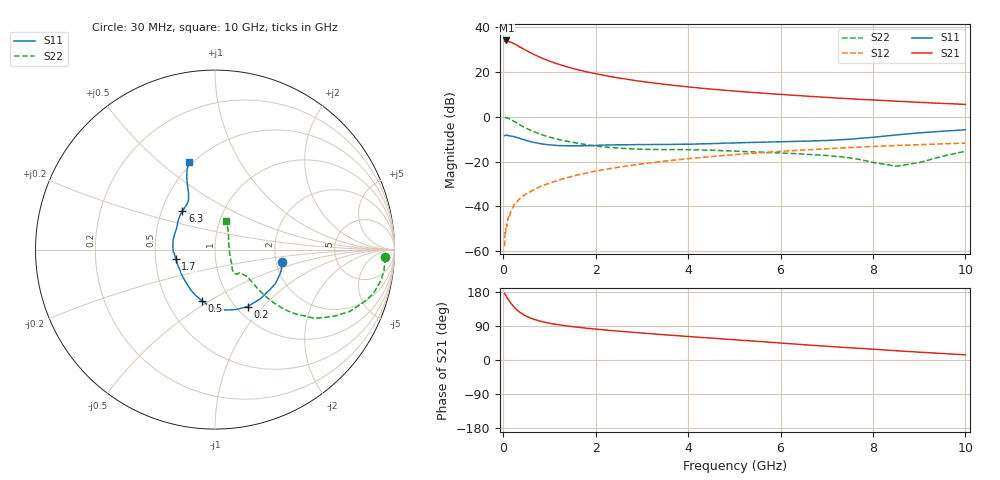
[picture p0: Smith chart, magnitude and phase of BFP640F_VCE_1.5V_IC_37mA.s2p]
! Infineon Technologies  Discrete & RF Semiconductors
! BFP640F
! VCE =  1.5 V,  IC =  37 mA
! Common Emitter S-Parameters:  Apr 2013
# GHz  S  MA  R  50
!  f  S11  S21  S12  S22
! GHz  MAG  ANG  MAG  ANG  MAG  ANG  MAG  ANG
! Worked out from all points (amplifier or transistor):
!   99 points, 30 MHz to 10 GHz, reference 50 ohm
!   highest |S21| = 34.0 dB at 70 MHz (marker M1)
!   |S21| within 3 dB of that: start of sweep to 367.8 MHz
!   unconditionally stable (mu >= 1): 1.447 GHz to end of sweep
!   at 350 MHz: K = 0.55, MSG = 33.9 dB, |S12| = -36.7 dB
!   at 3.5 GHz: K = 1.07, MAG = 15.5 dB, |S12| = -19.8 dB
!   at 10 GHz: K = 1.05, MAG = 7.3 dB, |S12| = -11.8 dB
!   S11 on the Smith chart (normalised r, x): 30 MHz: 2.14, -0.35; 200 MHz: 1.12, -0.82; 500 MHz: 0.74, -0.47; 1.7 GHz: 0.64, -0.07; 6.3 GHz: 0.64, +0.30; 10 GHz: 0.48, +0.63
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0.03  0.3777 -10.7  48.22 175.5  0.0013 101.8  0.9467 -2.6
0.05  0.3861 -16.2  49.88 172.0  0.0024 110.5  0.9481 -5.6
0.07  0.3861 -23.5  50.06 167.4  0.004 81.9  0.9447 -8.7
0.12  0.3743 -39.6  47.42 157.7  0.0061 79.4  0.9124 -15.8
0.15  0.3723 -47.5  46.58 152.7  0.0072 75.2  0.8781 -19.5
0.2  0.3657 -60.2  44.05 144.5  0.0092 76.3  0.827 -24.6
0.25  0.3544 -70.3  41.68 137.8  0.0117 73.9  0.7691 -28.6
0.3  0.3427 -79.4  39.03 131.8  0.0127 73.5  0.7183 -31.8
0.35  0.3315 -87.4  36.19 126.7  0.0147 73.3  0.6707 -34.7
0.5  0.2955 -103.9  29.89 115.6  0.0189 70.4  0.5507 -39.5
0.6  0.2765 -113.1  26.37 110.3  0.0217 71.4  0.4932 -41.1
0.7  0.2627 -120.7  23.43 106.0  0.0246 71.6  0.4472 -42.1
0.9  0.2418 -133.1  19.09 99.6  0.0304 71.4  0.3774 -42.7
1.3  0.2258 -152.8  13.66 91.2  0.0414 71.0  0.2939 -41.7
1.7  0.2242 -166.6  10.61 85.3  0.0526 69.7  0.2466 -40.4
2.4  0.2354 177.0  7.589 77.1  0.0721 67.3  0.2032 -42.0
3.4  0.2409 160.0  5.405 67.4  0.0995 62.2  0.1854 -46.0
5.1  0.2616 141.2  3.666 52.6  0.1453 52.8  0.1691 -50.6
6.3  0.2814 130.2  2.996 42.2  0.1763 45.5  0.1505 -49.5
6.7  0.2893 125.7  2.812 38.7  0.1857 43.1  0.1425 -47.9
8.5  0.3917 113.1  2.219 24.5  0.2279 32.0  0.0788 2.1
10  0.51 106.6  1.881 13.5  0.2582 23.2  0.1702 68.5
